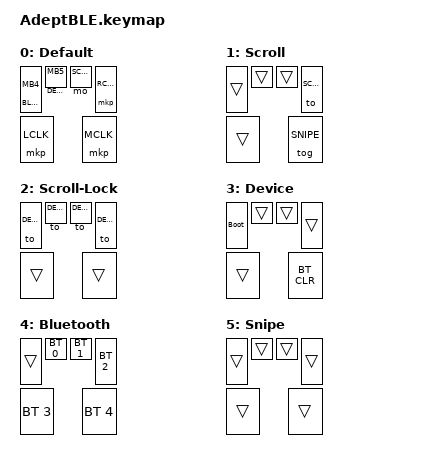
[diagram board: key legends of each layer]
#include <behaviors.dtsi>
#include <dt-bindings/zmk/bt.h>
#include <dt-bindings/zmk/keys.h>
#include <dt-bindings/zmk/pointing.h>
#include <dt-bindings/zmk/outputs.h>

#define DEFAULT 0
#define SCRLM 1
#define SCRLH 2
#define DEVICE 3
#define BLTH 4
#define SNIPE 5

// --- CHIP INTEGRATED INPUT LISTENER (Fixes Undefined Label Error) ---
/ {
  
  behaviors {
    lt_bt: layer_tap_bluetooth {
      compatible = "zmk,behavior-hold-tap";
      #binding-cells = <2>;
      flavor = "tap-preferred";
      tapping-term-ms = <200>;
      bindings = <&mo>, <&mkp>;
    };

    lt_dev: layer_tap_device {
      compatible = "zmk,behavior-hold-tap";
      #binding-cells = <2>;
      flavor = "tap-preferred";
      tapping-term-ms = <200>;
      bindings = <&mo>, <&mkp>;
    };
  };

  keymap {
    compatible = "zmk,keymap";

    // LAYER 0: BASE LAYER
    default_layer {
      display-name = "Default";
      bindings = <
        &lt_bt BLTH MB4    &lt_dev DEVICE MB5    &mo SCRLM    &mkp RCLK
        &mkp LCLK                                             &mkp MCLK
      >;
    };

    // LAYER 1: MOMENTARY SCROLL LAYER (While holding Button 3 down)
    scroll_tap_layer {
      display-name = "Scroll";
      bindings = <
        &trans             &trans                &trans       &to SCRLH
        &trans                                                &tog SNIPE
      >;
    };

    // LAYER 2: SCROLL LOCK LAYER (Stays active until you tap a top-row button)
    scroll_hold_layer {
      display-name = "Scroll-Lock";
      bindings = <
        &to DEFAULT        &to DEFAULT           &to DEFAULT  &to DEFAULT
        &trans                                                &trans
      >;
    };

    // LAYER 3: DEVICE UTILITY LAYER (Hold Button 2)
    device_layer {
      display-name = "Device";
      bindings = <
        &bootloader        &trans                &trans       &trans
        &trans                                                &bt BT_CLR
      >;
    };

    // LAYER 4: BLUETOOTH SELECTION LAYER (Hold Button 1)
    bluetooth_layer {
      display-name = "Bluetooth";
      bindings = <
        &trans             &bt BT_SEL 0          &bt BT_SEL 1 &bt BT_SEL 2
        &bt BT_SEL 3                                          &bt BT_SEL 4
      >;
    };

    // LAYER 5: SNIPE LAYER (Precision 50% Speed Mode)
    snipe_layer {
      display-name = "Snipe";
      bindings = <
        &trans             &trans                &trans       &trans
        &trans                                                &trans
      >;
    };
  };
};
